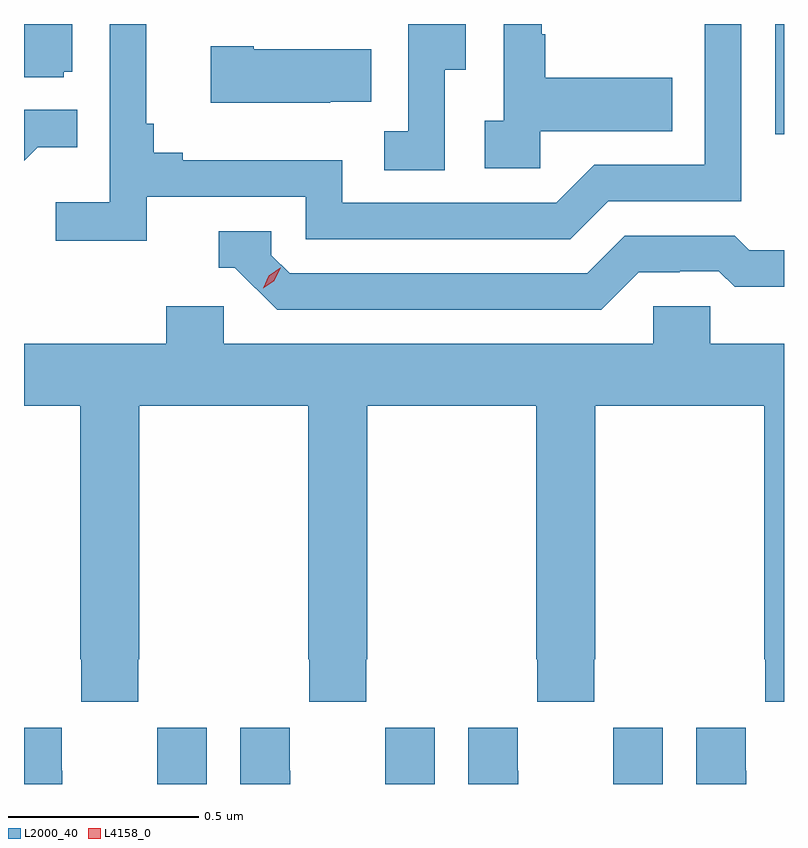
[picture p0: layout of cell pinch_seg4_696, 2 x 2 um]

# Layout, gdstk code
import gdstk
lib = gdstk.Library(unit=1e-6, precision=1e-09)
def R(c, l, rs):  # rectangles x0, y0, x1, y1
    for r in rs: c.add(gdstk.rectangle(r[:2], r[2:], *l))
def P(c, l, *ps):  # polygons
    for p in ps: c.add(gdstk.Polygon(p, *l))
L2000_40 = (2000, 40)
L4158_0 = (4158, 0)

pinch_seg4_696 = lib.new_cell('pinch_seg4_696')
R(pinch_seg4_696, L2000_40, [(1093.092,757.575,1093.115,757.865)])
P(pinch_seg4_696, L2000_40, [(1092.222,757.744),(1092.277,757.744),(1092.277,757.865),(1092.126,757.865),(1092.126,757.583),(1092.063,757.583),(1092.063,757.48),(1092.222,757.48)],
  [(1092.474,757.583),(1092.821,757.583),(1092.821,757.723),(1092.487,757.723),(1092.487,757.838),(1092.477,757.838),(1092.477,757.865),(1092.378,757.865),(1092.378,757.61),(1092.327,757.61),(1092.327,757.485),(1092.474,757.485)],
  [(1091.22,757.74),(1091.242,757.74),(1091.242,757.865),(1091.115,757.865),(1091.115,757.725),(1091.22,757.725)],
  [(1091.438,757.41),(1091.856,757.41),(1091.856,757.299),(1092.553,757.299),(1092.652,757.398),(1093.002,757.398),(1093.002,757.865),(1092.906,757.865),(1092.906,757.494),(1092.615,757.494),(1092.516,757.395),(1091.952,757.395),(1091.952,757.507),(1091.533,757.507),(1091.533,757.526),(1091.456,757.526),(1091.456,757.603),(1091.437,757.603),(1091.437,757.865),(1091.34,757.865),(1091.34,757.396),(1091.199,757.396),(1091.199,757.294),(1091.438,757.294)],
  [(1091.921,757.661),(1092.029,757.661),(1092.029,757.798),(1091.719,757.798),(1091.719,757.806),(1091.607,757.806),(1091.607,757.658),(1091.921,757.658)],
  [(1091.151,757.541),(1091.255,757.541),(1091.255,757.64),(1091.115,757.64),(1091.115,757.505)],
  [(1092.733,757.212),(1092.84,757.212),(1092.84,757.215),(1092.943,757.215),(1092.985,757.173),(1093.115,757.173),(1093.115,757.269),(1093.024,757.269),(1092.985,757.308),(1092.696,757.308),(1092.597,757.209),(1091.814,757.209),(1091.766,757.257),(1091.766,757.32),(1091.627,757.32),(1091.627,757.224),(1091.67,757.224),(1091.781,757.113),(1092.634,757.113)],
  [(1091.415,756.193),(1091.418,756.193),(1091.418,756.86),(1091.863,756.86),(1091.863,756.193),(1091.865,756.193),(1091.865,756.081),(1092.015,756.081),(1092.015,756.193),(1092.018,756.193),(1092.018,756.86),(1092.463,756.86),(1092.463,756.193),(1092.465,756.193),(1092.465,756.081),(1092.615,756.081),(1092.615,756.193),(1092.618,756.193),(1092.618,756.86),(1093.063,756.86),(1093.063,756.193),(1093.065,756.193),(1093.065,756.081),(1093.115,756.081),(1093.115,757.024),(1092.921,757.024),(1092.921,757.122),(1092.771,757.122),(1092.771,757.024),(1091.64,757.024),(1091.64,757.122),(1091.489,757.122),(1091.489,757.024),(1091.115,757.024),(1091.115,756.86),(1091.263,756.86),(1091.263,756.193),(1091.265,756.193),(1091.265,756.081),(1091.415,756.081)],
  [(1091.815,755.9),(1091.814,755.9),(1091.814,756.013),(1091.684,756.013),(1091.684,755.865),(1091.815,755.865)],
  [(1091.596,756.013),(1091.466,756.013),(1091.466,755.9),(1091.465,755.9),(1091.465,755.865),(1091.596,755.865)],
  [(1092.196,756.013),(1092.066,756.013),(1092.066,755.9),(1092.065,755.9),(1092.065,755.865),(1092.196,755.865)],
  [(1092.415,755.9),(1092.414,755.9),(1092.414,756.013),(1092.284,756.013),(1092.284,755.865),(1092.415,755.865)],
  [(1092.796,756.013),(1092.666,756.013),(1092.666,755.9),(1092.665,755.9),(1092.665,755.865),(1092.796,755.865)],
  [(1093.015,755.9),(1093.014,755.9),(1093.014,756.013),(1092.884,756.013),(1092.884,755.865),(1093.015,755.865)],
  [(1091.215,755.9),(1091.214,755.9),(1091.214,756.013),(1091.115,756.013),(1091.115,755.865),(1091.215,755.865)])
P(pinch_seg4_696, L4158_0, [(1091.744,757.17),(1091.744,757.17),(1091.759,757.203),(1091.789,757.224),(1091.79,757.224),(1091.79,757.224),(1091.774,757.19),(1091.744,757.17)])

lib.write_gds('pinch_seg4_696.gds')
